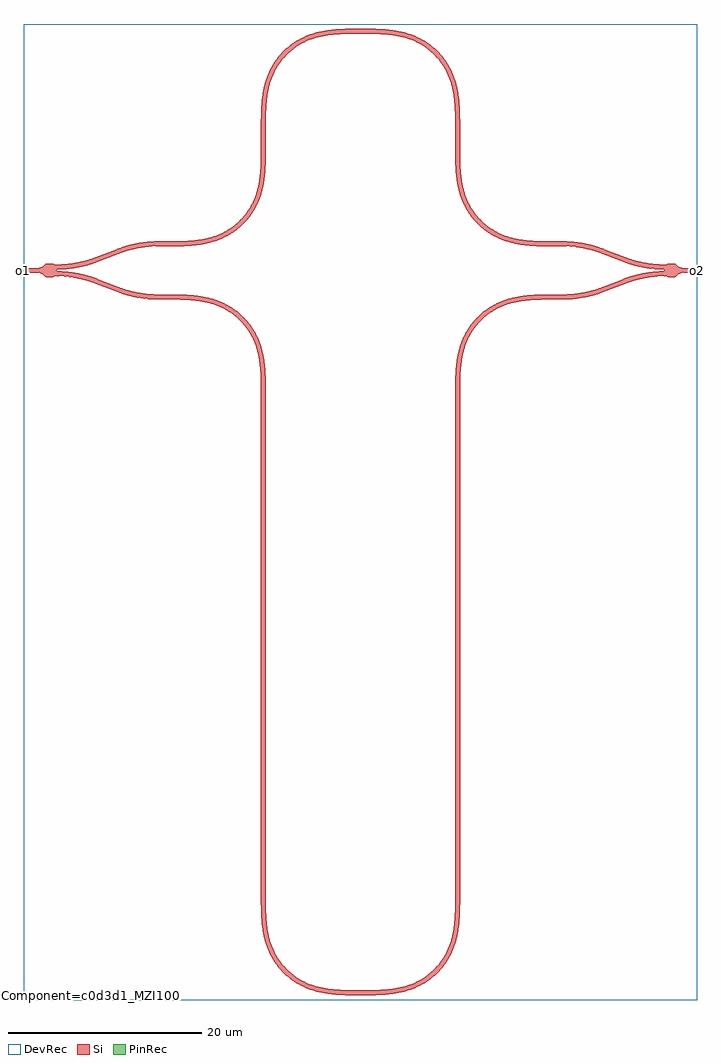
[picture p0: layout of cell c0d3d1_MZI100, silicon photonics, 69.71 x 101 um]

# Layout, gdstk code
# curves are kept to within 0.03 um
import gdstk
lib = gdstk.Library(unit=1e-6, precision=1e-09)
def R(c, l, rs):  # rectangles x0, y0, x1, y1
    for r in rs: c.add(gdstk.rectangle(r[:2], r[2:], *l))
def P(c, l, *ps):  # polygons
    for p in ps: c.add(gdstk.Polygon(p, *l))
Si = (1, 0)
PinRec = (1, 10)
DevRec = (68, 0)

c0d3d1_mzi100 = lib.new_cell('c0d3d1_MZI100')
R(c0d3d1_mzi100, Si, [(27.4,-75,27.5,-74.5), (17.15,-64.75,17.65,-12.75), (37.25,-64.75,37.75,-12.75), (6.5,-3,7.4,-2.5), (47.5,-3,48.4,-2.5), (-7.4,-0.25,-6,0.25), (60.9,-0.25,62.3,0.25), (6.5,2.5,7.4,3), (47.5,2.5,48.4,3), (17.15,12.75,17.65,14.75), (37.25,12.75,37.75,14.75), (27.4,24.5,27.5,25)])
P(c0d3d1_mzi100, Si, [(6.458,-3),(6.237,-2.997),(6.237,-2.497),(6.5,-2.5),(6.5,-3)],
  [(5.033,-2.908),(3.59,-2.634),(2.265,-2.21),(2.445,-1.744),(3.731,-2.154),(5.033,-2.404)],
  [(6.233,-2.997),(5.033,-2.908),(5.033,-2.404),(6.237,-2.497)],
  [(2.265,-2.21),(0.055,-1.356),(0.235,-0.89),(2.445,-1.744)],
  [(-0.762,-1.076),(-2.334,-0.724),(-3.178,-0.63),(-4,-0.6),(-4,-0.1),(-2.381,-0.212),(-0.762,-0.555)],
  [(0.055,-1.356),(-0.762,-1.076),(-0.762,-0.555),(0.235,-0.89)],
  [(6.237,2.497),(6.237,2.997),(6.5,3),(6.5,2.5)],
  [(2.445,1.744),(2.267,2.211),(3.59,2.634),(5.033,2.908),(5.033,2.404),(3.731,2.154)],
  [(5.033,2.404),(5.033,2.908),(6.237,2.997),(6.237,2.497)],
  [(0.235,0.89),(0.055,1.356),(2.265,2.21),(2.445,1.744)],
  [(-4,0.1),(-4,0.6),(-3.178,0.63),(-2.334,0.724),(-0.762,1.076),(-0.762,0.555),(-2.381,0.212)],
  [(-0.762,0.555),(-0.762,1.076),(0.055,1.356),(0.235,0.89)],
  [(-5.122,-0.662),(-5.442,-0.374),(-5.808,-0.255),(-6,-0.25),(-6,0.25),(-5.817,0.253),(-5.442,0.374),(-5.122,0.662)],
  [(-4.957,-0.703),(-5.122,-0.662),(-5.122,0.662),(-4.538,0.703),(-4.167,0.6),(-4,0.6),(-4,-0.6),(-4.167,-0.6),(-4.509,-0.701)],
  [(17.15,-12.75),(17.131,-11.095),(17.061,-10.004),(16.931,-9.063),(16.753,-8.273),(16.451,-7.385),(16.101,-6.663),(15.669,-5.988),(15.068,-5.271),(14.582,-4.812),(13.943,-4.328),(13.251,-3.923),(12.516,-3.601),(11.484,-3.299),(10.281,-3.103),(9.055,-3.019),(7.4,-3),(7.4,-2.5),(9.212,-2.525),(10.335,-2.606),(11.315,-2.753),(12.283,-2.994),(13.219,-3.352),(13.979,-3.758),(14.797,-4.34),(15.429,-4.924),(16.073,-5.694),(16.673,-6.672),(17.066,-7.595),(17.339,-8.556),(17.491,-9.394),(17.594,-10.377),(17.65,-12.75)],
  [(26.984,-75),(25.588,-74.975),(24.465,-74.894),(23.485,-74.747),(22.517,-74.506),(21.581,-74.148),(20.821,-73.742),(20.003,-73.16),(19.371,-72.576),(18.812,-71.921),(18.263,-71.081),(17.833,-70.173),(17.564,-69.359),(17.352,-68.386),(17.229,-67.404),(17.165,-66.282),(17.15,-64.75),(17.65,-64.75),(17.669,-66.405),(17.753,-67.631),(17.92,-68.702),(18.206,-69.74),(18.513,-70.481),(18.834,-71.067),(19.211,-71.619),(19.732,-72.229),(20.218,-72.688),(20.857,-73.172),(21.549,-73.577),(22.284,-73.899),(23.316,-74.201),(24.519,-74.397),(25.745,-74.481),(27.4,-74.5),(27.4,-75)],
  [(7.4,2.5),(7.4,3),(9.055,3.019),(10.281,3.103),(11.352,3.27),(12.39,3.556),(13.131,3.863),(13.831,4.255),(14.479,4.726),(14.975,5.175),(15.424,5.671),(15.895,6.319),(16.287,7.019),(16.594,7.76),(16.88,8.798),(17.047,9.869),(17.131,11.095),(17.15,12.75),(17.65,12.75),(17.635,11.218),(17.558,9.955),(17.423,8.974),(17.197,8.004),(16.857,7.062),(16.466,6.295),(15.9,5.465),(15.328,4.822),(14.685,4.25),(13.855,3.684),(13.088,3.293),(12.146,2.953),(11.176,2.727),(10.195,2.592),(8.932,2.515)],
  [(17.15,14.75),(17.165,16.282),(17.242,17.545),(17.377,18.526),(17.603,19.496),(17.943,20.438),(18.334,21.205),(18.9,22.035),(19.472,22.678),(20.115,23.25),(20.945,23.816),(21.712,24.207),(22.654,24.547),(23.624,24.773),(24.605,24.908),(25.868,24.985),(27.4,25),(27.4,24.5),(25.745,24.481),(24.519,24.397),(23.448,24.23),(22.41,23.944),(21.669,23.637),(20.969,23.245),(20.321,22.774),(19.825,22.325),(19.376,21.829),(18.905,21.181),(18.513,20.481),(18.206,19.74),(17.92,18.702),(17.753,17.631),(17.669,16.405),(17.65,14.75)],
  [(37.25,14.75),(37.231,16.405),(37.161,17.496),(37.031,18.437),(36.853,19.227),(36.551,20.115),(36.201,20.837),(35.769,21.512),(35.168,22.229),(34.682,22.688),(34.043,23.172),(33.351,23.577),(32.616,23.899),(31.584,24.201),(30.381,24.397),(29.155,24.481),(27.5,24.5),(27.5,25),(29.312,24.975),(30.435,24.894),(31.415,24.747),(32.383,24.506),(33.319,24.148),(34.079,23.742),(34.897,23.16),(35.529,22.576),(36.173,21.806),(36.773,20.828),(37.166,19.905),(37.439,18.944),(37.591,18.106),(37.694,17.123),(37.75,14.75)],
  [(47.084,2.5),(45.688,2.525),(44.565,2.606),(43.585,2.753),(42.617,2.994),(41.681,3.352),(40.921,3.758),(40.103,4.34),(39.471,4.924),(38.912,5.579),(38.363,6.419),(37.933,7.327),(37.664,8.141),(37.452,9.114),(37.329,10.096),(37.265,11.218),(37.25,12.75),(37.75,12.75),(37.769,11.095),(37.853,9.869),(38.02,8.798),(38.306,7.76),(38.613,7.019),(38.934,6.433),(39.311,5.881),(39.832,5.271),(40.318,4.812),(40.957,4.328),(41.649,3.923),(42.384,3.601),(43.416,3.299),(44.619,3.103),(45.845,3.019),(47.5,3),(47.5,2.5)],
  [(27.5,-75),(27.5,-74.5),(29.155,-74.481),(30.381,-74.397),(31.452,-74.23),(32.49,-73.944),(33.231,-73.637),(33.931,-73.245),(34.579,-72.774),(35.075,-72.325),(35.524,-71.829),(35.995,-71.181),(36.387,-70.481),(36.694,-69.74),(36.98,-68.702),(37.147,-67.631),(37.231,-66.405),(37.25,-64.75),(37.75,-64.75),(37.735,-66.282),(37.658,-67.545),(37.523,-68.526),(37.297,-69.496),(36.957,-70.438),(36.566,-71.205),(36,-72.035),(35.428,-72.678),(34.785,-73.25),(33.955,-73.816),(33.188,-74.207),(32.246,-74.547),(31.276,-74.773),(30.295,-74.908),(29.032,-74.985)],
  [(37.25,-12.75),(37.265,-11.218),(37.342,-9.955),(37.477,-8.974),(37.703,-8.004),(38.043,-7.062),(38.434,-6.295),(39,-5.465),(39.572,-4.822),(40.215,-4.25),(41.045,-3.684),(41.812,-3.293),(42.754,-2.953),(43.724,-2.727),(44.705,-2.592),(45.968,-2.515),(47.5,-2.5),(47.5,-3),(45.845,-3.019),(44.619,-3.103),(43.548,-3.27),(42.51,-3.556),(41.769,-3.863),(41.069,-4.255),(40.421,-4.726),(39.925,-5.175),(39.476,-5.671),(39.005,-6.319),(38.613,-7.019),(38.306,-7.76),(38.02,-8.798),(37.853,-9.869),(37.769,-11.095),(37.75,-12.75)],
  [(48.4,-3),(48.4,-2.5),(48.663,-2.497),(48.663,-2.997)],
  [(49.867,-2.908),(49.867,-2.404),(51.169,-2.154),(52.455,-1.744),(52.635,-2.21),(51.31,-2.634)],
  [(48.663,-2.997),(48.663,-2.497),(49.867,-2.404),(49.867,-2.908)],
  [(52.635,-2.21),(52.455,-1.744),(54.665,-0.89),(54.845,-1.356)],
  [(55.662,-1.076),(55.662,-0.555),(57.281,-0.212),(58.9,-0.1),(58.9,-0.6),(58.078,-0.63),(57.234,-0.724)],
  [(54.845,-1.356),(54.665,-0.89),(55.662,-0.555),(55.662,-1.076)],
  [(48.656,2.497),(48.4,2.5),(48.4,3),(48.663,2.997)],
  [(52.455,1.744),(51.169,2.154),(49.867,2.404),(49.867,2.908),(51.31,2.634),(52.633,2.211)],
  [(49.867,2.404),(48.663,2.497),(48.663,2.997),(49.867,2.908)],
  [(54.665,0.89),(52.455,1.744),(52.635,2.21),(54.845,1.356)],
  [(58.858,0.1),(57.281,0.212),(55.662,0.555),(55.662,1.076),(57.234,0.724),(58.078,0.63),(58.9,0.6),(58.9,0.1)],
  [(55.662,0.555),(54.665,0.89),(54.845,1.356),(55.662,1.076)],
  [(60.022,-0.662),(60.022,0.662),(60.342,0.374),(60.708,0.255),(60.9,0.25),(60.9,-0.25),(60.717,-0.253),(60.342,-0.374)],
  [(59.438,-0.703),(59.067,-0.6),(58.9,-0.6),(58.9,0.6),(59.067,0.6),(59.42,0.702),(59.99,0.678),(60.022,0.662),(60.022,-0.662)])
R(c0d3d1_mzi100, DevRec, [(-7.4,-75.5,62.3,25.5)])
c0d3d1_mzi100.add(gdstk.FlexPath([(-7.395,0),(-7.405,0)], 0.5, ends="flush", simple_path=True, layer=1, datatype=10))  # PinRec
c0d3d1_mzi100.add(gdstk.FlexPath([(62.295,0),(62.305,0)], 0.5, ends="flush", simple_path=True, layer=1, datatype=10))  # PinRec
c0d3d1_mzi100.add(gdstk.Label('Component=c0d3d1_MZI100', (-7.4,-75), layer=68, texttype=0))
c0d3d1_mzi100.add(gdstk.Label('o1', (-7.4,0), layer=1, texttype=10))
c0d3d1_mzi100.add(gdstk.Label('o2', (62.3,0), layer=1, texttype=10))

lib.write_gds('c0d3d1_MZI100.gds')
